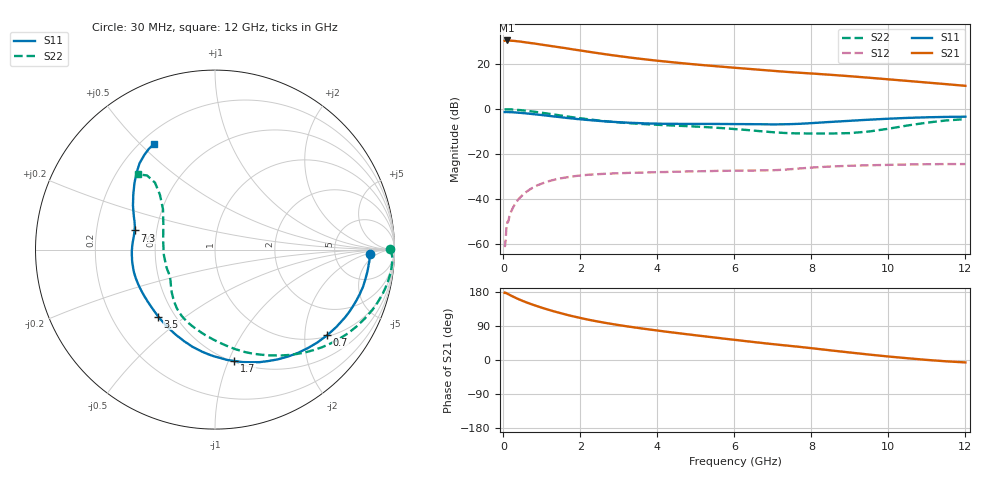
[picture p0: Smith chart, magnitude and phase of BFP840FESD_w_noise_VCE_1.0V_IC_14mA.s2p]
! Infineon Technologies  Discrete & RF Semiconductors
! BFP840FESD
! VCE =  1.0 V,  IC =  14 mA
! Common Emitter S-Parameters:  May 2012
# GHz  S  MA  R  50
!  f  S11  S21  S12  S22
! GHz  MAG  ANG  MAG  ANG  MAG  ANG  MAG  ANG
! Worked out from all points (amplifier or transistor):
!   103 points, 30 MHz to 12 GHz, reference 50 ohm
!   highest |S21| = 30.5 dB at 80 MHz (marker M1)
!   |S21| within 3 dB of that: start of sweep to 1.441 GHz
!   unconditionally stable (mu >= 1): 6.112 GHz to end of sweep
!   at 400 MHz: K = 0.11, MSG = 35.0 dB, |S12| = -39.8 dB
!   at 3.7 GHz: K = 0.64, MSG = 25.1 dB, |S12| = -28.2 dB
!   at 12 GHz: K = 1.17, MAG = 14.9 dB, |S12| = -24.4 dB
!   lowest NFmin = 0.76 dB at 450 MHz
!   S11 on the Smith chart (normalised r, x): 30 MHz: 13, -3; 700 MHz: 1.03, -2.59; 1.7 GHz: 0.51, -1.05; 3.5 GHz: 0.41, -0.40; 7.3 GHz: 0.37, +0.10; 12 GHz: 0.25, +0.55
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0.03  0.8613 -1.7  33.05 177.2  0.001 96.7  0.9744 0.1
0.04  0.8613 -2.3  33.21 176.7  0.0009 99.9  0.9795 -0.5
0.05  0.8598 -3.0  33.39 177.6  0.0011 31.2  0.983 -1.1
0.08  0.862 -4.6  33.57 176.0  0.0024 91.2  0.9884 -2.6
0.25  0.8501 -14.2  32.94 167.3  0.0065 83.7  0.9796 -10.6
0.35  0.8376 -19.7  32.26 162.4  0.009 78.3  0.9657 -14.9
0.5  0.8169 -27.6  31.1 155.9  0.0124 74.4  0.9389 -21.0
0.7  0.7864 -37.4  29.43 148.2  0.0167 68.4  0.8974 -28.5
0.9  0.7538 -46.8  27.88 141.2  0.0206 63.2  0.8528 -35.6
1.2  0.7051 -60.1  25.51 131.7  0.0253 56.3  0.7846 -45.5
1.4  0.6745 -68.4  24.05 125.9  0.028 51.8  0.7405 -51.7
1.7  0.6299 -80.1  21.98 117.9  0.031 46.6  0.6781 -60.4
2.1  0.5833 -94.0  19.49 108.6  0.0341 40.8  0.6105 -71.0
2.7  0.53 -111.4  16.33 97.0  0.0368 34.5  0.5339 -84.2
3.5  0.4892 -130.3  13.31 84.6  0.0387 30.0  0.4727 -98.2
4.1  0.474 -142.3  11.67 76.4  0.0399 28.1  0.4442 -106.7
5  0.4692 -157.9  9.819 65.1  0.0415 26.6  0.4089 -117.8
6.1  0.4646 -174.3  8.182 52.1  0.043 25.6  0.3557 -131.1
7.3  0.4606 166.6  6.784 38.7  0.0451 29.2  0.2952 -148.0
8.5  0.5192 151.7  5.793 25.4  0.0531 27.8  0.2867 -174.4
10.5  0.6386 131.2  4.233 4.6  0.0588 22.1  0.4333 135.1
12  0.679 120.1  3.295 -6.4  0.0601 20.5  0.5994 135.5
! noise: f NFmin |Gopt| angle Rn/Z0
0.45  0.76  0.22  4  0.12
0.9  0.78  0.22  11  0.14
1.5  0.8  0.2  17  0.14
1.9  0.8  0.18  27  0.14
2.4  0.81  0.17  37  0.14
3.5  0.81  0.17  61  0.14
5.5  0.86  0.1  123  0.12
8  0.96  0.11  -177  0.13
10  1.08  0.25  -124  0.14
12  1.29  0.41  -109  0.16
